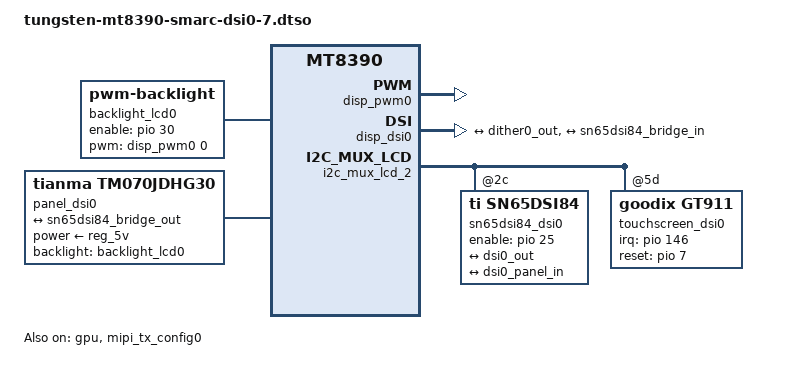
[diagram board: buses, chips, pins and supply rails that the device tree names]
// SPDX-License-Identifier: (GPL-2.0-or-later OR MIT)
/*
 * Copyright 2026 Ezurio LLC
 */

/dts-v1/;
/plugin/;

#include <dt-bindings/gpio/gpio.h>
#include <dt-bindings/interrupt-controller/irq.h>
#include <dt-bindings/pinctrl/mediatek,mt8188-pinfunc.h>

#include "tungsten-mt8390-bd-panel.dtsi"


&{/} {
	backlight_lcd0: backlight-lcd0 {
		compatible = "pwm-backlight";
		brightness-levels = <0 1023>;
		default-brightness-level = <768>;
		num-interpolated-steps = <1023>;
		enable-gpios = <&pio 30 GPIO_ACTIVE_HIGH>;
		pwms = <&disp_pwm0 0 30000>;
	};

	panel_dsi0: panel-dsi0 {
		compatible = "tianma,tm070jdhg30";
		backlight = <&backlight_lcd0>;
		power-supply = <&reg_5v>;

		panel-timing {
			BD_PANEL_TIMING
		};

		port {
			dsi0_panel_in: endpoint {
				remote-endpoint = <&sn65dsi84_bridge_out>;
			};
		};
	};
};

&disp_pwm0 {
	pinctrl-names = "default";
	pinctrl-0 = <&disp_pwm0_pins>;
	status = "okay";
};

&gpu {
	status = "okay";
};

&mipi_tx_config0 {
	status = "okay";
};


&disp_dsi0 {
	status = "okay";

	ports {
		#address-cells = <1>;
		#size-cells = <0>;

		port@0 {
			reg = <0>;

			dsi0_in: endpoint {
				remote-endpoint = <&dither0_out>;
			};
		};

		port@1 {
			reg = <1>;

			dsi0_out: endpoint {
				remote-endpoint = <&sn65dsi84_bridge_in>;
			};
		};
	};
};


&dither0_in {
	remote-endpoint = <&postmask0_out>;
};

&dither0_out {
	remote-endpoint = <&dsi0_in>;
};

&postmask0_out {
	remote-endpoint = <&dither0_in>;
};

&i2c_mux_lcd_2 {
	#address-cells = <1>;
	#size-cells = <0>;

	sn65dsi84_dsi0: bridge@2c {
		compatible = "ti,sn65dsi84";
		reg = <0x2c>;
		pinctrl-names = "default";
		pinctrl-0 = <&dsi0_sn65dsi84_pins>;
		enable-gpios = <&pio 25 GPIO_ACTIVE_HIGH>;
		status = "okay";

		ports {
			#address-cells = <1>;
			#size-cells = <0>;

			port@0 {
				reg = <0>;

				sn65dsi84_bridge_in: endpoint {
					remote-endpoint = <&dsi0_out>;
					data-lanes = <1 2 3 4>;
				};
			};

			port@2 {
				reg = <2>;

				sn65dsi84_bridge_out: endpoint {
					remote-endpoint = <&dsi0_panel_in>;
				};
			};
		};
	};

	touchscreen_dsi0: touchscreen@5d {
		compatible = "goodix,gt911";
		reg = <0x5d>;
		pinctrl-names = "default";
		pinctrl-0 = <&ts_dsi0_goodix_pins>;
		interrupts-extended = <&pio 146 IRQ_TYPE_LEVEL_HIGH>;
		irq-gpios = <&pio 146 GPIO_ACTIVE_HIGH>;
		reset-gpios = <&pio 7 GPIO_ACTIVE_HIGH>;
		status = "okay";
	};
};


&pio {
	disp_pwm0_pins: disp-pwm0-pins {
		pins {
			pinmux = <PINMUX_GPIO29__FUNC_O_DISP_PWM0>;
			bias-pull-down;
		};
	};

	dsi0_sn65dsi84_pins: dsi0-sn65dsi84-pins {
		pins-irq {
			pinmux = <PINMUX_GPIO128__FUNC_B_GPIO128>;
			bias-pull-down;
			input-enable;
		};

		pins-enable {
			pinmux = <PINMUX_GPIO25__FUNC_B_GPIO25>;
			bias-pull-down;
		};
	};

	ts_dsi0_goodix_pins: ts-dsi0-goodix-pins {
		pins-irq {
			pinmux = <PINMUX_GPIO146__FUNC_B_GPIO146>;
			bias-pull-up = <MTK_PUPD_SET_R1R0_01>;
			input-enable;
		};

		pins-reset {
			pinmux = <PINMUX_GPIO7__FUNC_B_GPIO7>;
			bias-pull-down;
		};
	};
};
